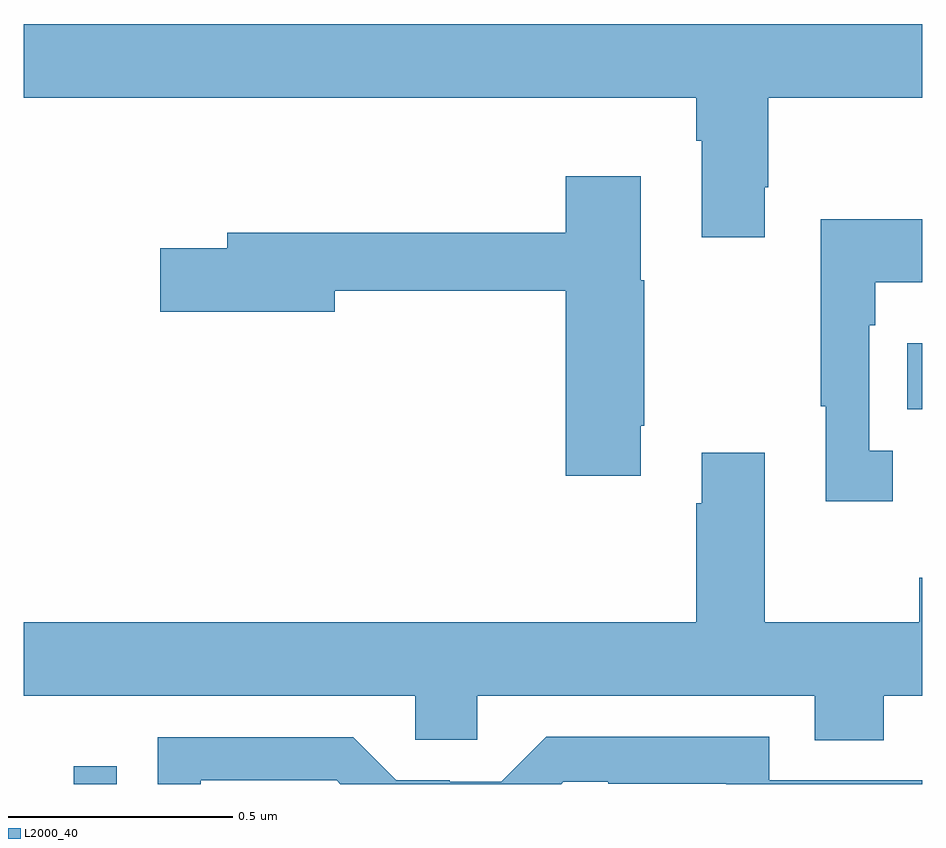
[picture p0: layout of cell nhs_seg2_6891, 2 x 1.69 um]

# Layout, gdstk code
import gdstk
lib = gdstk.Library(unit=1e-6, precision=1e-09)
def R(c, l, rs):  # rectangles x0, y0, x1, y1
    for r in rs: c.add(gdstk.rectangle(r[:2], r[2:], *l))
def P(c, l, *ps):  # polygons
    for p in ps: c.add(gdstk.Polygon(p, *l))
L2000_40 = (2000, 40)

nhs_seg2_6891 = lib.new_cell('nhs_seg2_6891')
R(nhs_seg2_6891, L2000_40, [(197.111,620.8,197.207,620.839), (198.967,621.634,199,621.781)])
P(nhs_seg2_6891, L2000_40, [(198.649,622.129),(198.657,622.129),(198.657,622.328),(199,622.328),(199,622.492),(197,622.492),(197,622.328),(198.497,622.328),(198.497,622.232),(198.509,622.232),(198.509,622.017),(198.649,622.017)],
  [(198.373,621.598),(198.381,621.598),(198.381,621.921),(198.373,621.921),(198.373,622.153),(198.206,622.153),(198.206,622.027),(197.453,622.027),(197.453,621.993),(197.304,621.993),(197.304,621.851),(197.692,621.851),(197.692,621.898),(198.206,621.898),(198.206,621.486),(198.373,621.486)],
  [(198.934,621.542),(198.882,621.542),(198.882,621.821),(198.895,621.821),(198.895,621.917),(199,621.917),(199,622.057),(198.774,622.057),(198.774,621.641),(198.785,621.641),(198.785,621.429),(198.934,621.429)],
  [(198.914,620.996),(199,620.996),(199,621.259),(198.994,621.259),(198.994,621.16),(198.649,621.16),(198.649,621.538),(198.509,621.538),(198.509,621.425),(198.497,621.425),(198.497,621.16),(197,621.16),(197,620.996),(197.871,620.996),(197.871,620.898),(198.009,620.898),(198.009,620.996),(198.761,620.996),(198.761,620.897),(198.914,620.897)],
  [(197.394,620.808),(197.697,620.808),(197.705,620.8),(198.196,620.8),(198.201,620.805),(198.301,620.805),(198.301,620.801),(198.564,620.801),(198.564,620.8),(199,620.8),(199,620.808),(198.66,620.808),(198.66,620.905),(198.163,620.905),(198.063,620.805),(197.948,620.805),(197.948,620.808),(197.829,620.808),(197.733,620.904),(197.298,620.904),(197.298,620.8),(197.394,620.8)])

lib.write_gds('nhs_seg2_6891.gds')
